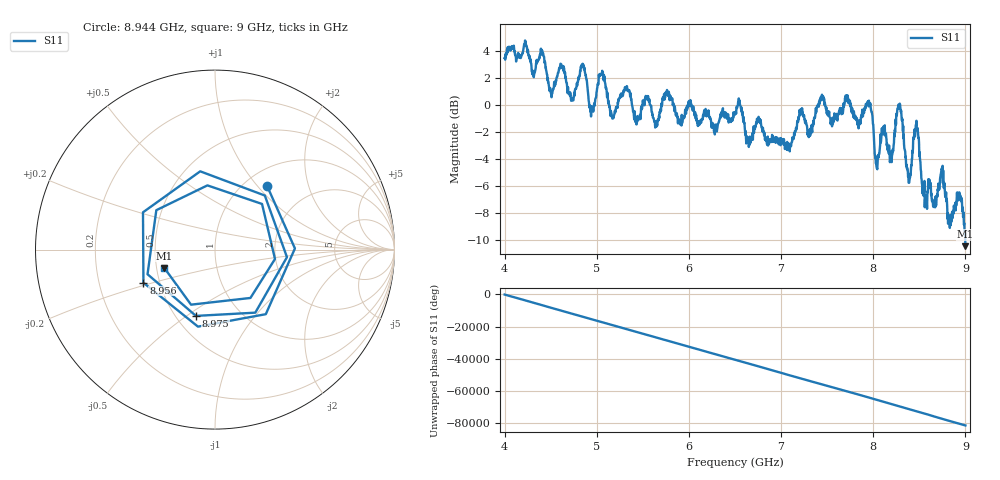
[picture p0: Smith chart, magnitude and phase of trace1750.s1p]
! Created with skrf 1.8.0 (http://scikit-rf.org).
# Hz S RI R 50.0
!freq ReS11 ImS11
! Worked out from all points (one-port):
!   1601 points, 4 GHz to 9 GHz, reference 50 ohm
!   lowest |S11| = -10.5 dB at 9 GHz (marker M1), VSWR 1.86, Z = 27.5 - j6.2 ohm
!   |S11| at or under -10 dB: 8.998554 GHz to end of sweep
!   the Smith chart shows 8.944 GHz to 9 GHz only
!   S11 on the Smith chart (normalised r, x): 8.944 GHz: 1.26, +1.13; 8.956 GHz: 0.41, -0.19; 8.975 GHz: 0.63, -0.54; 9 GHz: 0.55, -0.12
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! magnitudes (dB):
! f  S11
! 4 GHz  3.4
! 4.406 GHz  4.0
! 4.509 GHz  0.5
! 4.625 GHz  2.8
! 4.734 GHz  0.4
! 4.85 GHz  2.8
! 4.944 GHz  -0.4
! 5.047 GHz  2.2
! 5.162 GHz  -0.8
! 5.25 GHz  0.5
! 5.875 GHz  -0.9
! 6.5 GHz  -0.6
! 7.125 GHz  -2.6
! 7.444 GHz  0.7
! 7.75 GHz  -0.1
! 7.959 GHz  0.1
! 8.041 GHz  -4.7
! 8.112 GHz  -1.7
! 8.2 GHz  -4.2
! 8.284 GHz  0.0
! 8.375 GHz  -4.9
! 8.469 GHz  -1.2
! 8.559 GHz  -7.6
! 8.838 GHz  -8.1
! 8.944 GHz  -6.8
! 8.956 GHz  -7.1
! 8.975 GHz  -8.3
! 9 GHz  -10.5
